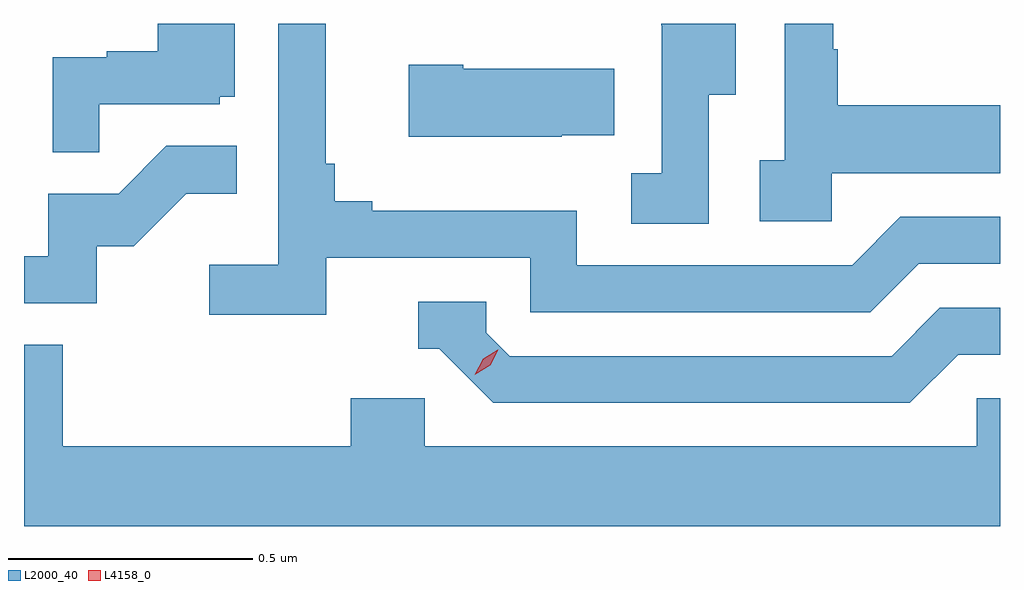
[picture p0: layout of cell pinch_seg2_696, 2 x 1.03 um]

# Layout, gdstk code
import gdstk
lib = gdstk.Library(unit=1e-6, precision=1e-09)
def P(c, l, *ps):  # polygons
    for p in ps: c.add(gdstk.Polygon(p, *l))
L2000_40 = (2000, 40)
L4158_0 = (4158, 0)

pinch_seg2_696 = lib.new_cell('pinch_seg2_696')
P(pinch_seg2_696, L2000_40, [(1084.23,597.904),(1084.285,597.904),(1084.285,598.05),(1084.133,598.05),(1084.133,598.047),(1084.134,598.047),(1084.134,597.743),(1084.071,597.743),(1084.071,597.64),(1084.23,597.64)],
  [(1083.446,597.57),(1083.864,597.57),(1083.864,597.459),(1084.561,597.459),(1084.66,597.558),(1084.827,597.558),(1084.827,597.654),(1084.623,597.654),(1084.524,597.555),(1083.96,597.555),(1083.96,597.667),(1083.541,597.667),(1083.541,597.686),(1083.464,597.686),(1083.464,597.763),(1083.445,597.763),(1083.445,598.05),(1083.348,598.05),(1083.348,597.556),(1083.207,597.556),(1083.207,597.454),(1083.446,597.454)],
  [(1082.981,597.885),(1083.228,597.885),(1083.228,597.9),(1083.259,597.9),(1083.259,598.05),(1083.101,598.05),(1083.101,597.994),(1082.997,597.994),(1082.997,597.981),(1082.886,597.981),(1082.886,597.787),(1082.981,597.787)],
  [(1084.482,597.743),(1084.827,597.743),(1084.827,597.883),(1084.495,597.883),(1084.495,597.998),(1084.485,597.998),(1084.485,598.05),(1084.386,598.05),(1084.386,597.77),(1084.335,597.77),(1084.335,597.645),(1084.482,597.645)],
  [(1083.929,597.821),(1084.037,597.821),(1084.037,597.958),(1083.727,597.958),(1083.727,597.966),(1083.615,597.966),(1083.615,597.818),(1083.929,597.818)],
  [(1082.976,597.594),(1083.052,597.594),(1083.159,597.701),(1083.263,597.701),(1083.263,597.8),(1083.119,597.8),(1083.021,597.702),(1082.877,597.702),(1082.877,597.573),(1082.827,597.573),(1082.827,597.477),(1082.976,597.477)],
  [(1084.741,597.372),(1084.827,597.372),(1084.827,597.468),(1084.704,597.468),(1084.605,597.369),(1083.822,597.369),(1083.774,597.417),(1083.774,597.48),(1083.635,597.48),(1083.635,597.384),(1083.678,597.384),(1083.789,597.273),(1084.642,597.273)],
  [(1084.827,597.282),(1084.779,597.282),(1084.779,597.184),(1083.648,597.184),(1083.648,597.282),(1083.497,597.282),(1083.497,597.184),(1082.906,597.184),(1082.906,597.392),(1082.827,597.392),(1082.827,597.02),(1084.827,597.02)])
P(pinch_seg2_696, L4158_0, [(1083.751,597.331),(1083.751,597.331),(1083.768,597.363),(1083.798,597.382),(1083.799,597.382),(1083.799,597.382),(1083.782,597.35),(1083.751,597.331)])

lib.write_gds('pinch_seg2_696.gds')
